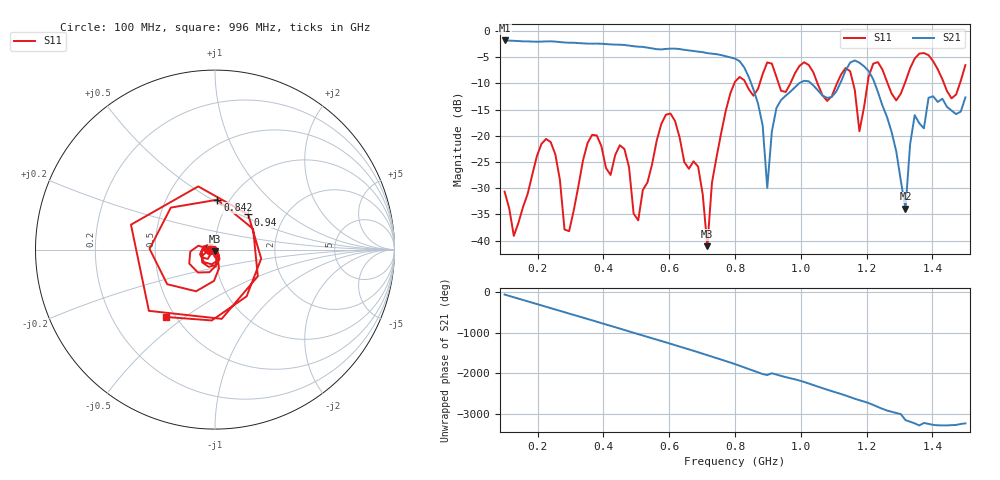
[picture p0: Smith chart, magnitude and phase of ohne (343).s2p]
! NanoVNA-App
! Date: 2025-09-25 14:23:28
! Start: 100MHz Stop: 1,5GHz Points: 101
! S-Parameter data: F S11 S21 S12 S22
# Hz S RI R 50
!  Frequency  S11_Real  S11_Imag  S21_Real  S21_Imag  S12_Real  S12_Imag  S22_Real  S22_Imag
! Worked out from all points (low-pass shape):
!   101 points, 100 MHz to 1.5 GHz, reference 50 ohm
!   highest |S21| = -1.79 dB at 100 MHz (marker M1); lowest = -33.9 dB at 1.318 GHz (marker M2)
!   |S21| within 3 dB of the highest: start of sweep to 771.4 MHz
!   lowest |S11| = -41.1 dB at 716 MHz (marker M3), VSWR 1.02, Z = 49.7 - j0.846 ohm
!   |S11| at or under -10 dB: start of sweep to 797.9 MHz; 833 MHz to 875.1 MHz (42.11 MHz wide, 4.93 % of centre); 1.051 GHz to 1.11 GHz (59.1 MHz wide, 5.47 % of centre) (the widest 3 of 7)
!   S12 and S22 are empty: the file has one direction only
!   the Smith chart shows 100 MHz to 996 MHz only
!   S11 on the Smith chart (normalised r, x): 100 MHz: 0.94, -0.01; 842 MHz: 0.88, +0.53; 940 MHz: 1.32, +0.56; 996 MHz: 0.44, -0.42
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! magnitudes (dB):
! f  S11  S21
! 100 MHz  -30.6  -1.8
! 128 MHz  -39.1  -1.9
! 226 MHz  -20.6  -2.0
! 296 MHz  -38.2  -2.2
! 338 MHz  -24.7  -2.3
! 464 MHz  -22.5  -2.7
! 506 MHz  -36.1  -3.0
! 576 MHz  -17.7  -3.5
! 688 MHz  -25.9  -3.9
! 716 MHz  -41.1  -4.2
! 800 MHz  -9.7  -5.3
! 842 MHz  -11.1  -8.8
! 898 MHz  -6.0  -29.9
! 940 MHz  -11.4  -13.1
! 996 MHz  -6.6  -9.9
! 1.038 GHz  -7.9  -10.4
! 1.178 GHz  -19.1  -6.0
! 1.22 GHz  -6.2  -9.2
! 1.276 GHz  -11.9  -19.3
! 1.318 GHz  -9.6  -33.9
! 1.346 GHz  -5.3  -16.1
! 1.5 GHz  -6.5  -12.7
